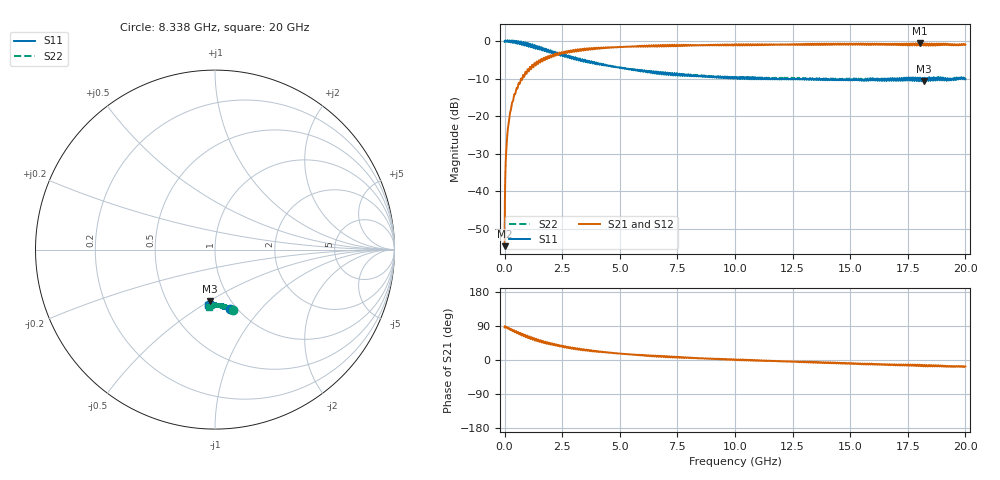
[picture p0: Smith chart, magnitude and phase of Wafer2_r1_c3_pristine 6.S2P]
!  2-Port S-parameters saved by WinCal
! VAR MeasName=S-Parameters (CALIBRATED_DATA) read from VNA (P5004A)
! VAR MeasDate=24/04/2024 15:58:14
! VAR NAME=Wafer2_r1_c3_pristine 6
! VAR FILENAME=Wafer2_r1_c3_pristine 6.S2P
! VAR DATE=24/04/2024 15:58:14
! VAR PHYS_PORTS=1,2
! VAR ObjTypeName=DATASET
! VAR IndexType=Frequency
# Hz S MA R 50
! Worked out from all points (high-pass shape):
!   4999 points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, 4.01 MHz to 20 GHz, reference 50 ohm
!   highest |S21| = -0.61 dB at 18.04 GHz (marker M1); lowest = -54.6 dB at 4.01 MHz (marker M2)
!   |S21| within 3 dB of the highest: 2.255 GHz to 2.317 GHz (62.31 MHz wide, 2.73 % of centre); 2.342 GHz to end of sweep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
!   lowest |S11| = -10.7 dB at 18.19 GHz (marker M3), VSWR 1.82, Z = 40 - j25.2 ohm
!   |S11| at or under -10 dB: 12.1 GHz to 16.53 GHz (4.431 GHz wide, 30.9 % of centre); 16.54 GHz to 16.63 GHz (85.18 MHz wide, 0.514 % of centre); 19.15 GHz to 19.33 GHz (178.2 MHz wide, 0.926 % of centre)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
!   |S22| runs from -10.5 to 0.1 dB; largest |S21 - S12| = 0.014
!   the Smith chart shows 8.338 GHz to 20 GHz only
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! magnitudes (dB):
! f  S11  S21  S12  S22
! 4.01 MHz  -0.1  -54.6  -54.4  -0.1
! 48.02 MHz  0.1  -32.8  -32.8  0.1
! 108 MHz  -0.1  -26.1  -26.0  -0.1
! 136 MHz  0.1  -23.8  -23.9  0.1
! 180 MHz  -0.2  -21.9  -21.8  -0.2
! 248.1 MHz  -0.1  -18.9  -19.0  0.0
! 348.1 MHz  -0.2  -16.2  -16.2  -0.2
! 464.1 MHz  -0.6  -14.1  -14.1  -0.6
! 624.1 MHz  -0.1  -11.1  -11.1  -0.2
! 824.2 MHz  -0.5  -9.1  -9.1  -0.5
! 1.04 GHz  -1.3  -8.0  -8.0  -1.3
! 1.56 GHz  -2.2  -5.5  -5.5  -2.2
! 2.348 GHz  -3.6  -3.5  -3.5  -3.6
! 3.341 GHz  -5.2  -2.5  -2.4  -5.2
! 4.797 GHz  -6.9  -1.6  -1.6  -6.8
! 6.673 GHz  -8.2  -1.1  -1.1  -8.3
! 10 GHz  -9.9  -1.1  -1.2  -9.8
! 13.33 GHz  -10.2  -1.0  -1.0  -10.0
! 16.67 GHz  -10.5  -0.9  -0.9  -10.1
! 18.04 GHz  -9.8  -0.6  -0.6  -10.0
! 18.19 GHz  -10.7  -1.2  -1.2  -10.3
! 20 GHz  -10.1  -1.0  -1.0  -9.9
